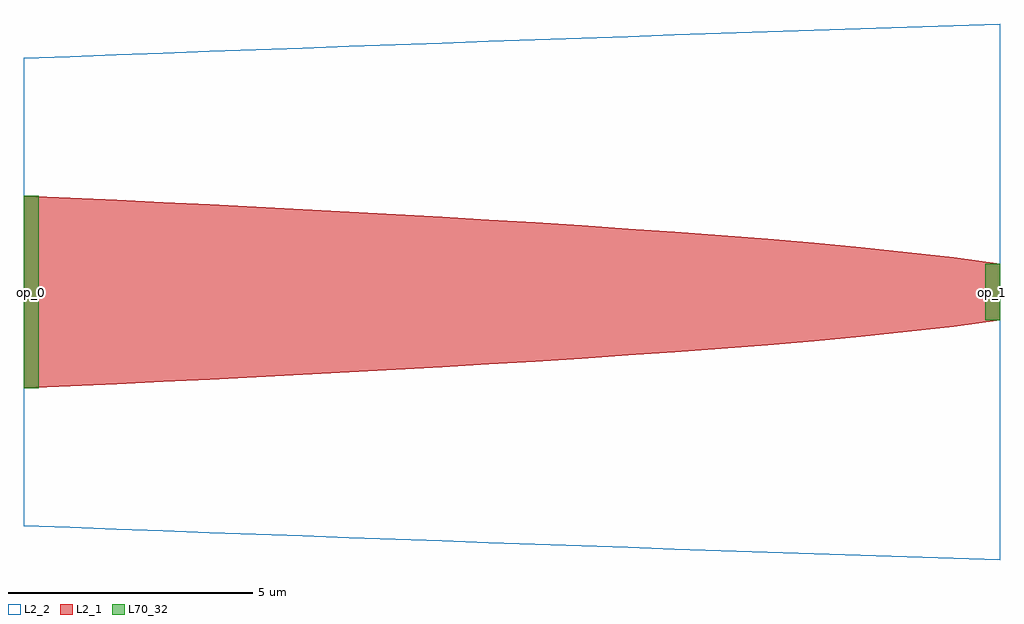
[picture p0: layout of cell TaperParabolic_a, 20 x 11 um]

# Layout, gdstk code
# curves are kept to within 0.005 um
import gdstk
lib = gdstk.Library(unit=1e-6, precision=1e-09)
def R(c, l, rs):  # rectangles x0, y0, x1, y1
    for r in rs: c.add(gdstk.rectangle(r[:2], r[2:], *l))
def P(c, l, *ps):  # polygons
    for p in ps: c.add(gdstk.Polygon(p, *l))
L2_1 = (2, 1)
L2_2 = (2, 2)
L70_32 = (70, 32)

c_wg = lib.new_cell('wg')
P(c_wg, L2_1, [(-10,1.975),(-6.19,1.795),(-4.286,1.697),(-1.429,1.54),(1.429,1.364),(3.333,1.233),(5.238,1.087),(7.143,0.917),(8.095,0.819),(9.048,0.708),(10,0.575),(10,-0.575),(9.048,-0.708),(8.095,-0.819),(7.143,-0.917),(5.238,-1.087),(2.381,-1.3),(-0.476,-1.483),(-3.333,-1.646),(-6.19,-1.795),(-10,-1.975)])
P(c_wg, L2_2, [(-10,4.8),(-1.429,5.112),(10,5.5),(10,-5.5),(-1.429,-5.112),(-10,-4.8)])
R(c_wg, L70_32, [(-10,-1.975,-9.7,1.975), (9.7,-0.575,10,0.575)])
c_wg.add(gdstk.Label('op_0', (-9.85,0), layer=70, texttype=41))
c_wg.add(gdstk.Label('op_1', (9.85,0), layer=70, texttype=41))

taperparabolic_a = lib.new_cell('TaperParabolic_a')
R(taperparabolic_a, L70_32, [(-10,-1.975,-9.7,1.975), (9.7,-0.575,10,0.575)])
taperparabolic_a.add(gdstk.Reference(c_wg, (0,0)))
taperparabolic_a.add(gdstk.Label('op_0', (-9.85,0), layer=70, texttype=41))
taperparabolic_a.add(gdstk.Label('op_1', (9.85,0), layer=70, texttype=41))

lib.write_gds('TaperParabolic_a.gds')
